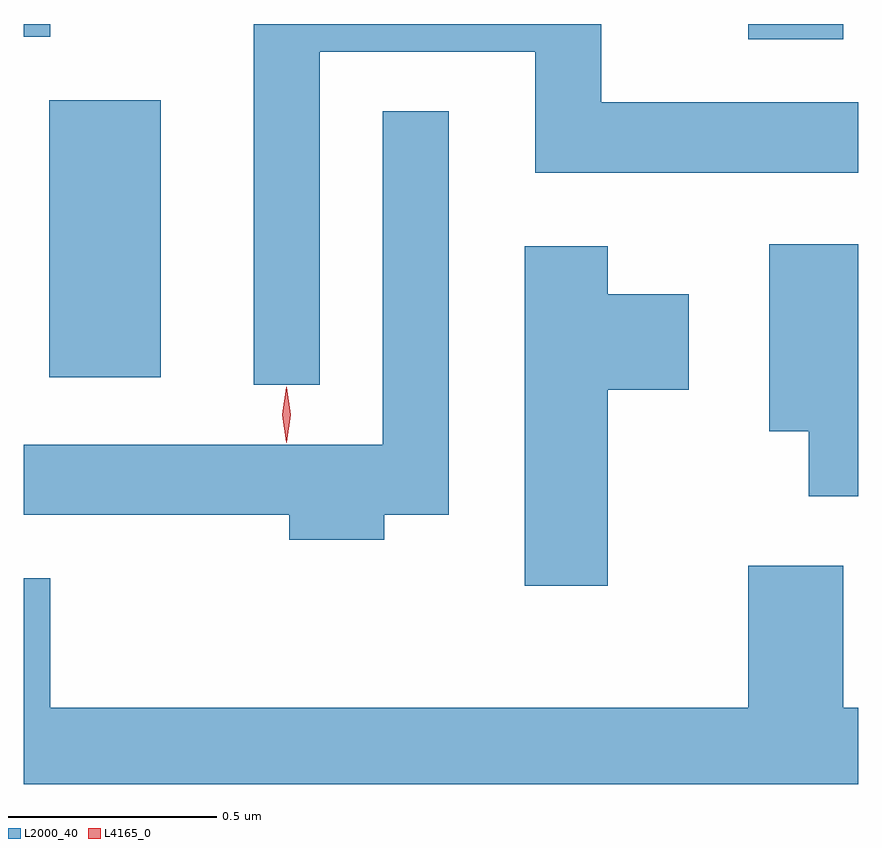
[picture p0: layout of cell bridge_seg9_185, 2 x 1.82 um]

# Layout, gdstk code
import gdstk
lib = gdstk.Library(unit=1e-6, precision=1e-09)
def R(c, l, rs):  # rectangles x0, y0, x1, y1
    for r in rs: c.add(gdstk.rectangle(r[:2], r[2:], *l))
def P(c, l, *ps):  # polygons
    for p in ps: c.add(gdstk.Polygon(p, *l))
L2000_40 = (2000, 40)
L4165_0 = (4165, 0)

bridge_seg9_185 = lib.new_cell('bridge_seg9_185')
R(bridge_seg9_185, L2000_40, [(1417.396,2081.676,1417.664,2082.339), (1419.071,2082.486,1419.299,2082.522), (1417.335,2082.491,1417.399,2082.522)])
P(bridge_seg9_185, L2000_40, [(1418.044,2082.456),(1418.561,2082.456),(1418.561,2082.166),(1419.335,2082.166),(1419.335,2082.334),(1418.719,2082.334),(1418.719,2082.522),(1417.886,2082.522),(1417.886,2081.658),(1418.044,2081.658)],
  [(1418.199,2081.346),(1418.354,2081.346),(1418.354,2082.313),(1418.196,2082.313),(1418.196,2081.514),(1417.335,2081.514),(1417.335,2081.346),(1417.971,2081.346),(1417.971,2081.286),(1418.199,2081.286)],
  [(1419.335,2081.994),(1419.121,2081.994),(1419.121,2081.546),(1419.216,2081.546),(1419.216,2081.391),(1419.335,2081.391)],
  [(1418.734,2081.646),(1418.929,2081.646),(1418.929,2081.874),(1418.734,2081.874),(1418.734,2081.989),(1418.536,2081.989),(1418.536,2081.176),(1418.734,2081.176)],
  [(1419.335,2080.884),(1419.299,2080.884),(1419.299,2081.224),(1419.071,2081.224),(1419.071,2080.884),(1417.399,2080.884),(1417.399,2081.194),(1417.335,2081.194),(1417.335,2080.701),(1419.335,2080.701)])
P(bridge_seg9_185, L4165_0, [(1417.965,2081.519),(1417.964,2081.52),(1417.955,2081.586),(1417.964,2081.652),(1417.965,2081.653),(1417.965,2081.652),(1417.975,2081.586),(1417.965,2081.52)])

lib.write_gds('bridge_seg9_185.gds')
